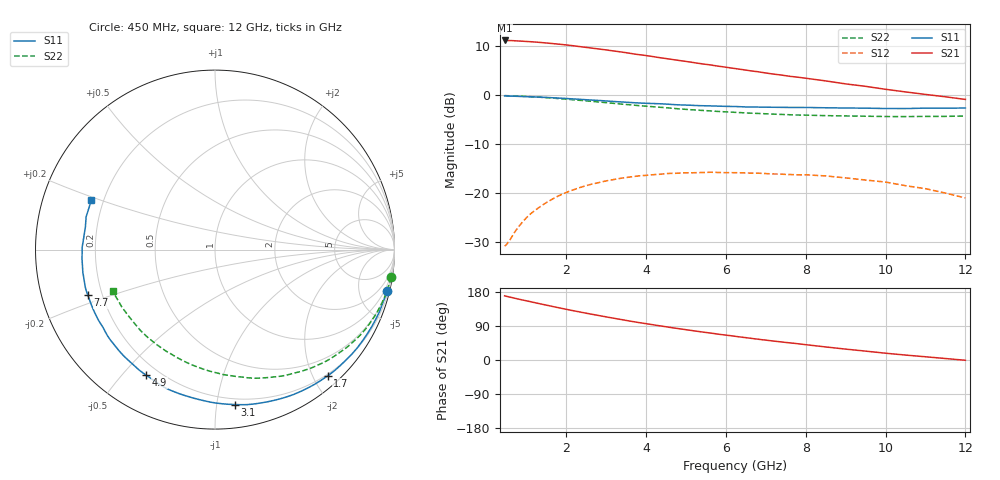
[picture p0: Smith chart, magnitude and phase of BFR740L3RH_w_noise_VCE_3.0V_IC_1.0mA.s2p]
! (c) 2012  Infineon Technologies AG, Munich
! Infineon Technologies  Discrete & RF Semiconductors
! BFR740L3RH
! VCE =  3.0 V,  IC =  1.0 mA
! Common Emitter S-Parameters:  May 2012
# GHz  S  MA  R  50
!  f  S11  S21  S12  S22
! GHz  MAG  ANG  MAG  ANG  MAG  ANG  MAG  ANG
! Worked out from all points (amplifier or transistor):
!   85 points, 450 MHz to 12 GHz, reference 50 ohm
!   highest |S21| = 11.2 dB at 450 MHz (marker M1)
!   |S21| within 3 dB of that: start of sweep to 3.92 GHz
!   unconditionally stable (mu >= 1): 10.4 GHz to end of sweep
!   at 1.8 GHz: K = 0.10, MSG = 15.5 dB, |S12| = -20.5 dB
!   at 4.6 GHz: K = 0.26, MSG = 11.6 dB, |S12| = -15.9 dB
!   at 12 GHz: K = 1.60, MAG = 5.5 dB, |S12| = -20.9 dB
!   lowest NFmin = 0.29 dB at 450 MHz
!   S11 on the Smith chart (normalised r, x): 450 MHz: 0.44, -8.36; 1.7 GHz: 0.18, -2.22; 3.1 GHz: 0.16, -1.12; 4.9 GHz: 0.15, -0.58; 7.7 GHz: 0.15, -0.17; 12 GHz: 0.15, +0.19
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0.45  0.9878 -13.6  3.627 169.4  0.029 81.3  0.994 -8.9
0.6  0.9812 -17.6  3.617 165.5  0.0344 78.5  0.9884 -11.6
0.8  0.9763 -23.4  3.582 160.6  0.0457 72.7  0.9818 -15.3
1.1  0.9664 -31.8  3.521 153.8  0.0619 66.5  0.9689 -20.8
1.4  0.9548 -40.1  3.446 146.9  0.0762 61.0  0.9527 -26.3
1.7  0.9428 -48.3  3.357 140.2  0.09 55.2  0.9344 -31.6
2.1  0.9231 -58.9  3.229 131.5  0.1062 47.9  0.9064 -38.3
2.4  0.9072 -66.4  3.116 125.4  0.117 42.1  0.8854 -43.3
2.7  0.8916 -73.5  3.008 119.5  0.126 37.1  0.8636 -47.9
3.1  0.8699 -82.8  2.864 111.8  0.1366 30.7  0.8347 -53.9
3.4  0.8553 -89.4  2.758 106.3  0.1435 26.2  0.8125 -58.4
3.8  0.8365 -98.0  2.605 99.0  0.1507 19.8  0.787 -64.1
4.3  0.8219 -107.7  2.435 90.8  0.1563 13.1  0.7584 -70.7
4.9  0.7975 -118.8  2.245 81.5  0.1619 5.1  0.7239 -78.5
5.6  0.7807 -130.6  2.044 71.2  0.1644 -3.4  0.6944 -87.2
6.3  0.7677 -141.2  1.858 61.5  0.1626 -11.0  0.6688 -95.7
6.9  0.7583 -149.8  1.715 53.6  0.1601 -17.8  0.6511 -102.9
7.7  0.7526 -160.2  1.547 44.1  0.1554 -25.8  0.6318 -112.2
8.5  0.7469 -170.3  1.403 34.4  0.1508 -34.7  0.6211 -121.4
9.5  0.7403 179.0  1.235 23.4  0.1369 -45.5  0.6127 -132.7
10.5  0.7331 170.0  1.084 13.0  0.1199 -56.1  0.6076 -143.2
12  0.7425 158.0  0.909 -0.7  0.0899 -71.0  0.6157 -157.9
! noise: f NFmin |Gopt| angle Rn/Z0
0.45  0.29  0.92  6  0.48
0.9  0.32  0.91  18  0.46
1.5  0.4  0.89  31  0.42
1.9  0.48  0.84  40  0.4
2.4  0.57  0.79  49  0.38
3.5  0.79  0.75  68  0.33
5.5  1.16  0.78  97  0.21
8  1.59  0.72  139  0.09
10  1.91  0.71  161  0.05
12  2.2  0.81  -162  0.04
